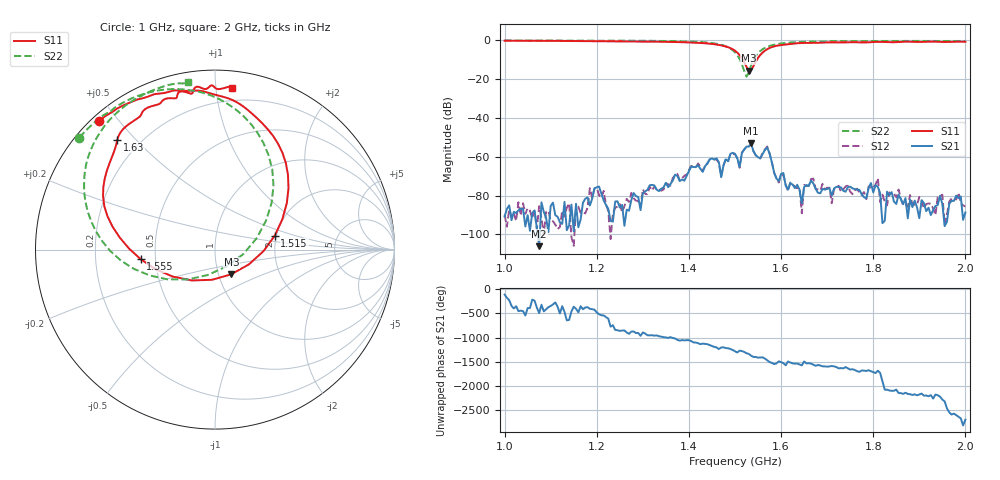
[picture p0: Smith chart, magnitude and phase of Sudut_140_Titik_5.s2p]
# Hz S RI R 50
! CMT, C1220, 16058040, 17.2.0/1
! Date: 14/08/2018 11:48:15
! Data: Format (Calibration Info)
! Freq  S11: Re/Im (F2)  S21: Re/Im (F2)  S12: Re/Im (F2)  S22: Re/Im (F2)
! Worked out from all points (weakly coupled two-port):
!   201 points, 1 GHz to 2 GHz, reference 50 ohm
!   highest |S21| = -53.17 dB at 1.535 GHz (marker M1); lowest = -106.0 dB at 1.075 GHz (marker M2)
!   lowest |S11| = -15.6 dB at 1.53 GHz (marker M3), VSWR 1.40, Z = 57.6 - j16.3 ohm
!   |S11| at or under -10 dB: 1.517 GHz to 1.548 GHz (31.08 MHz wide, 2.03 % of centre)
!   |S22| runs from -18.9 to -0.2 dB; largest |S21 - S12| = 0.00022
!   S11 on the Smith chart (normalised r, x): 1 GHz: 0.02, +0.44; 1.515 GHz: 1.96, +0.35; 1.555 GHz: 0.41, -0.05; 1.63 GHz: 0.12, +0.44; 2 GHz: 0.11, +1.11
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1e9  -0.6477 0.7152  -1.11e-05 -2.67e-05  -6.93e-06 -3.14e-05  -0.7552 0.6243
1.075e9  -0.5633 0.7725  -3.57e-06 -3.5e-06  4.08e-05 3.53e-05  -0.7019 0.6802
1.17e9  -0.4675 0.8223  3.64e-05 -5.4e-05  2.68e-05 -2.53e-05  -0.6183 0.7507
1.335e9  -0.2035 0.8854  -4.15e-05 0.000124  1.15e-06 0.000147  -0.401 0.8661
1.45e9  0.1838 0.7769  -8.04e-05 -0.000897  -7.96e-05 -0.00091  0.0215 0.8394
1.47e9  0.2945 0.6698  -0.000168 -0.000245  -0.000197 -0.000248  0.1615 0.7412
1.5e9  0.4096 0.3427  -0.00109 0.000468  -0.00106 0.000468  0.3259 0.3579
1.51e9  0.3755 0.1699  -0.00054 9.22e-05  -0.00052 3.6e-05  0.2843 0.1611
1.515e9  0.3334 0.0784  -0.00118 0.000381  -0.00123 0.000377  0.2326 0.064
1.53e9  0.0914 -0.1375  -0.000415 0.00178  -0.000408 0.00179  -0.0406 -0.1415
1.535e9  -0.0164 -0.1682  0.000909 0.002  0.000892 0.00198  -0.1516 -0.1666
1.555e9  -0.4136 -0.0539  0.000801 0.00045  0.000764 0.00047  -0.5246 -0.0607
1.57e9  -0.5706 0.1273  0.00153 -0.000809  0.00162 -0.000857  -0.6645 0.104
1.595e9  -0.6141 0.3966  0.00015 -0.000183  0.000137 -0.000168  -0.729 0.34
1.63e9  -0.5439 0.6127  -2.12e-05 -0.000155  -5.77e-05 -0.000157  -0.6971 0.5422
1.67e9  -0.4301 0.7317  -9.67e-05 -0.000181  -8.83e-05 -0.000259  -0.6272 0.6723
1.71e9  -0.3602 0.7969  -8.3e-05 -5.57e-05  -6.19e-05 -1.34e-05  -0.5603 0.7501
1.785e9  -0.2135 0.846  -3.26e-05 7.85e-05  -4.24e-05 6.94e-05  -0.4463 0.837
1.81e9  -0.1942 0.8801  -7.83e-05 0.000148  0.00011 0.000255  -0.411 0.8573
1.815e9  -0.1839 0.8815  3.86e-05 0.000108  -3.31e-05 5.92e-05  -0.4038 0.8612
1.835e9  -0.1368 0.869  3.65e-05 9.57e-05  2.81e-05 0.000117  -0.3776 0.8742
2e9  0.0972 0.9021  -3.65e-05 -3.83e-06  -4.26e-05 3.05e-05  -0.1521 0.9343
